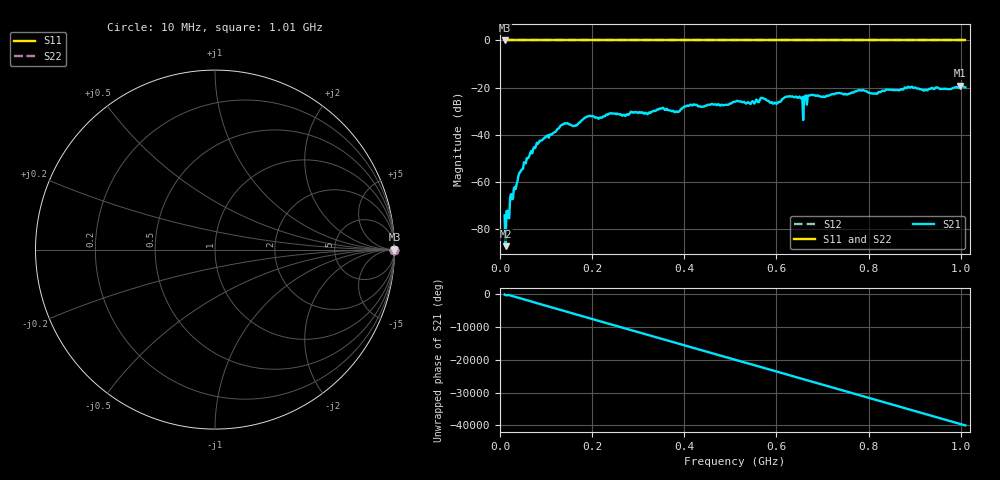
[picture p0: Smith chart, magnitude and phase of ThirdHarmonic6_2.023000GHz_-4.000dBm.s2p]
! 8/17/2025 12:16:43 AM
! C:\ANRITSUVNA\TEMP\TEMP.S2P
! CHANNEL.1
! TR.MEASUREMENT
! RAW.DATA
! RF.CORRECTION.OFF
! AVERAGING.OFF
! IF.BANDWIDTH: 5KHZ
! SWEEPTYPE:  FREQ.SWEEP(Linear)
! Reference Plane Port Info
! PORT:  PORT1  PORT2
! DISTANCE:  0  m  0  m
! TIME:  0  s  0  s
! PHASE.OFFSET:  0  deg.  0  deg.
! LOSS:  0  dB  0  dB
! REF.LOSS:  0  dB  0  dB
! REF.FREQ:  0  Hz  0  Hz
! Power Info
! POWER:  -20  dBm  -20  dBm
! EFF.POWER:  -20  dBm  -20  dBm
! SOURCE.ATTEN:  0  dB  0  dB
! TEST.ATTEN:  0  dB  0  dB
# GHZ S RI R 50.0
! FREQ.GHZ  S11RE  S11IM  S21RE  S21IM  S12RE  S12IM  S22RE  S22IM
!; PortSelection: Port_12
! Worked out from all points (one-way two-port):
!   501 points, 10 MHz to 1.01 GHz, reference 50 ohm
!   highest |S21| = -19.20 dB at 998 MHz (marker M1); lowest = -87.1 dB at 12 MHz (marker M2)
!   lowest |S11| = 0.0 dB at 10 MHz (marker M3)
!   |S11| at or under -10 dB: nowhere
!   |S22| runs from 0.0 to 0.0 dB; largest |S21 - S12| = 1.1
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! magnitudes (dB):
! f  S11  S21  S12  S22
! 10 MHz  0.0  -74.0  0.0  0.0
! 12 MHz  0.0  -87.1  0.0  0.0
! 16 MHz  0.0  -72.1  0.0  0.0
! 26 MHz  0.0  -67.2  0.0  0.0
! 44 MHz  0.0  -55.8  0.0  0.0
! 76 MHz  0.0  -45.6  0.0  0.0
! 136 MHz  0.0  -35.6  0.0  0.0
! 162 MHz  0.0  -36.2  0.0  0.0
! 178 MHz  0.0  -33.8  0.0  0.0
! 344 MHz  0.0  -29.3  0.0  0.0
! 384 MHz  0.0  -30.1  0.0  0.0
! 410 MHz  0.0  -27.7  0.0  0.0
! 510 MHz  0.0  -25.9  0.0  0.0
! 570 MHz  0.0  -24.4  0.0  0.0
! 598 MHz  0.0  -26.6  0.0  0.0
! 630 MHz  0.0  -23.7  0.0  0.0
! 662 MHz  0.0  -23.6  0.0  0.0
! 664 MHz  0.0  -23.3  0.0  0.0
! 678 MHz  0.0  -23.1  0.0  0.0
! 844 MHz  0.0  -20.8  0.0  0.0
! 998 MHz  0.0  -19.2  0.0  0.0
! 1.01 GHz  0.0  -19.9  0.0  0.0
